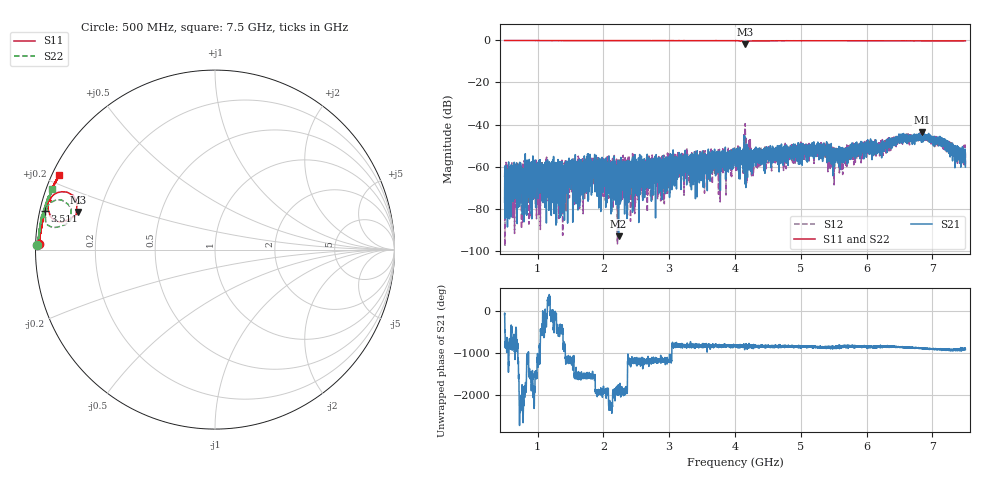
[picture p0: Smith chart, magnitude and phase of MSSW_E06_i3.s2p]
!Keysight Technologies,M9374A,MY55442783,A.12.55.05
!Date: Thursday, May 20, 2021 14:32:38
!Correction: S11(Full 2 Port(1,2))
!S21(Full 2 Port(1,2))
!S12(Full 2 Port(1,2))
!S22(Full 2 Port(1,2))
!S2P File: Measurements: S11, S21, S12, S22:
# Hz S  RI  R 50
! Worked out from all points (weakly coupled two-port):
!   7001 points, 500 MHz to 7.5 GHz, reference 50 ohm
!   highest |S21| = -43.65 dB at 6.837 GHz (marker M1); lowest = -93.0 dB at 2.231 GHz (marker M2)
!   lowest |S11| = -2.0 dB at 4.147 GHz (marker M3), VSWR 8.53, Z = 5.97 + j6.68 ohm
!   |S11| at or under -10 dB: nowhere
!   |S22| runs from -1.8 to -0.1 dB; largest |S21 - S12| = 0.0096
!   S11 on the Smith chart (normalised r, x): 500 MHz: 0.01, +0.02; 3.511 GHz: 0.01, +0.11; 7.5 GHz: 0.02, +0.23
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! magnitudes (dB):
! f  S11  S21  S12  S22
! 500 MHz  -0.1  -76.8  -64.5  -0.1
! 536 MHz  -0.2  -65.1  -65.3  -0.1
! 632 MHz  -0.2  -66.6  -75.4  -0.1
! 700 MHz  -0.2  -68.5  -76.0  -0.1
! 1.667 GHz  -0.2  -69.0  -65.4  -0.1
! 1.809 GHz  -0.2  -60.8  -63.7  -0.2
! 2.231 GHz  -0.2  -93.0  -59.9  -0.1
! 2.834 GHz  -0.2  -57.6  -67.2  -0.1
! 3.511 GHz  -0.2  -61.9  -59.7  -0.1
! 4 GHz  -0.3  -53.7  -58.2  -0.2
! 4.096 GHz  -0.4  -55.0  -57.5  -0.3
! 4.131 GHz  -0.7  -61.4  -59.2  -0.6
! 4.147 GHz  -2.0  -52.9  -44.8  -1.8
! 4.214 GHz  -0.4  -56.9  -50.7  -0.4
! 4.274 GHz  -0.4  -55.2  -55.2  -0.3
! 5.167 GHz  -0.3  -54.0  -49.3  -0.2
! 5.603 GHz  -0.3  -53.0  -55.0  -0.2
! 6.334 GHz  -0.3  -46.9  -48.8  -0.2
! 6.837 GHz  -0.3  -43.7  -47.6  -0.3
! 7.163 GHz  -0.3  -48.6  -51.3  -0.3
! 7.464 GHz  -0.3  -54.6  -54.2  -0.3
! 7.5 GHz  -0.3  -60.1  -53.0  -0.3
